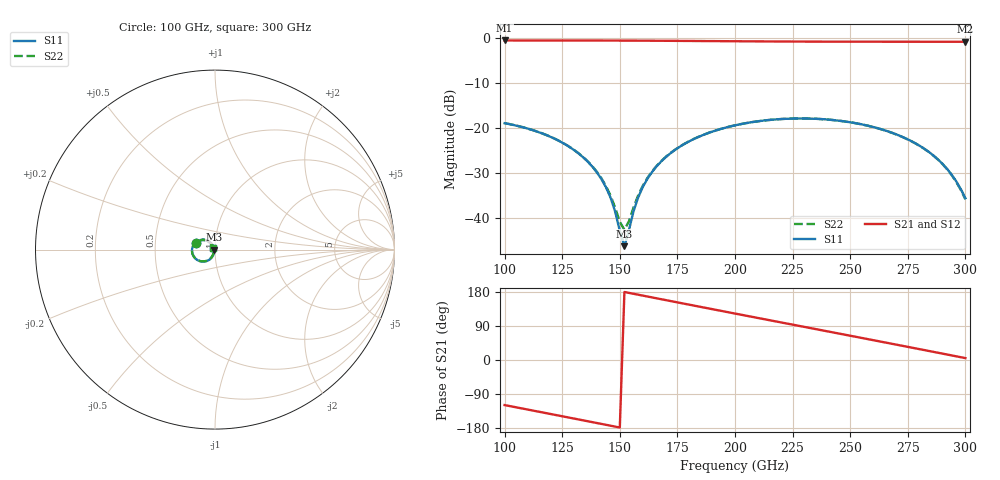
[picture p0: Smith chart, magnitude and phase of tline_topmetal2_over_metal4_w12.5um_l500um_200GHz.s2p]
#  GHZ S DB R 50
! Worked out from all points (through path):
!   101 points, 100 GHz to 300 GHz, reference 50 ohm
!   highest |S21| = -0.44 dB at 100 GHz (marker M1); lowest = -0.7 dB at 300 GHz (marker M2)
!   group delay of S21, straight-line fit = 3.28 ps
!   lowest |S11| = -46.3 dB at 152 GHz (marker M3), VSWR 1.01, Z = 49.5 - j0.0539 ohm
!   |S11| at or under -10 dB: start of sweep to end of sweep
!   |S22| runs from -42.7 to -17.8 dB; largest |S21 - S12| = 1.9e-14
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100  -18.89 160.1  -0.44 -119.0  -0.44 -119.0  -18.88 161.0
120  -21.96 137.0  -0.45 -142.5  -0.45 -142.5  -21.93 138.6
134  -26.46 122.5  -0.45 -159.1  -0.45 -159.1  -26.40 125.4
140  -29.82 118.0  -0.46 -166.3  -0.46 -166.3  -29.70 122.4
144  -33.19 117.3  -0.46 -171.0  -0.46 -171.0  -32.92 123.6
148  -38.64 124.2  -0.47 -175.8  -0.47 -175.8  -37.77 134.4
150  -42.92 139.9  -0.47 -178.2  -0.47 -178.2  -40.88 151.8
152  -46.32 -173.5  -0.47 179.4  -0.47 179.4  -42.68 -173.9
154  -42.70 -128.6  -0.48 177.1  -0.48 177.1  -40.73 -140.4
158  -35.41 -108.8  -0.48 172.3  -0.48 172.3  -34.96 -116.5
162  -31.28 -107.2  -0.49 167.5  -0.49 167.5  -31.10 -112.2
168  -27.41 -110.7  -0.51 160.4  -0.51 160.4  -27.33 -113.9
182  -22.46 -124.3  -0.56 143.8  -0.56 143.8  -22.44 -126.0
200  -19.37 -143.8  -0.62 122.6  -0.62 122.6  -19.36 -144.9
218  -18.04 -163.6  -0.67 101.5  -0.67 101.5  -18.04 -164.3
234  -17.89 178.8  -0.70 82.8  -0.70 82.8  -17.89 178.3
250  -18.69 161.5  -0.71 64.1  -0.71 64.1  -18.69 161.0
268  -21.01 142.7  -0.72 42.9  -0.72 42.9  -21.02 142.3
280  -23.89 131.7  -0.72 28.7  -0.72 28.7  -23.91 131.2
288  -26.93 126.7  -0.73 19.3  -0.73 19.3  -26.97 126.0
294  -30.35 126.7  -0.73 12.2  -0.73 12.2  -30.44 125.7
300  -35.61 139.4  -0.74 5.0  -0.74 5.0  -35.87 138.1
